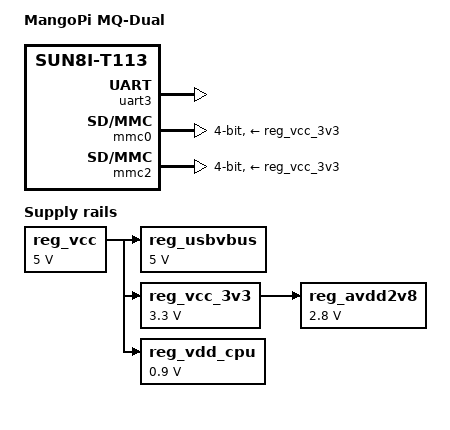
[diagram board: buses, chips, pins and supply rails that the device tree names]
// SPDX-License-Identifier: (GPL-2.0+ or MIT)
// Copyright (C) 2022 Samuel Holland <samuel@sholland.org>

/dts-v1/;

#include <dt-bindings/gpio/gpio.h>
#include <dt-bindings/leds/common.h>
#include "sun8i-t113.dtsi"

/ {
	model = "MangoPi MQ-Dual";
	compatible = "allwinner,sun8i-t113", "allwinner,sun8i";

	aliases {
		serial0 = &uart3;
	};

	chosen {
		stdout-path = "serial0:115200n8";
	};

	reg_vcc: vcc {
		compatible = "regulator-fixed";
		regulator-name = "vcc";
		regulator-min-microvolt = <5000000>;
		regulator-max-microvolt = <5000000>;
	};

	reg_usbvbus: usbvbus {
		compatible = "regulator-fixed";
		regulator-name = "usbvbus";
		regulator-min-microvolt = <5000000>;
		regulator-max-microvolt = <5000000>;
		vin-supply = <&reg_vcc>;
	};

	reg_vcc_3v3: vcc-3v3 {
		compatible = "regulator-fixed";
		regulator-name = "vcc-3v3";
		regulator-min-microvolt = <3300000>;
		regulator-max-microvolt = <3300000>;
		vin-supply = <&reg_vcc>;
	};

	reg_avdd2v8: avdd2v8 {
		compatible = "regulator-fixed";
		regulator-name = "avdd2v8";
		regulator-min-microvolt = <2800000>;
		regulator-max-microvolt = <2800000>;
		vin-supply = <&reg_vcc_3v3>;
	};

	reg_vdd_cpu: vdd-cpu {
		compatible = "regulator-fixed";
		regulator-name = "vdd-cpu";
		regulator-min-microvolt = <900000>;
		regulator-max-microvolt = <900000>;
		vin-supply = <&reg_vcc>;
	};
};

&cpu0 {
	cpu-supply = <&reg_vdd_cpu>;
};

&cpu1 {
	cpu-supply = <&reg_vdd_cpu>;
};

&pio {
	vcc-pb-supply = <&reg_vcc_3v3>;
	vcc-pc-supply = <&reg_vcc_3v3>;
	vcc-pd-supply = <&reg_vcc_3v3>;
	vcc-pe-supply = <&reg_vcc_3v3>;
	vcc-pf-supply = <&reg_vcc_3v3>;
	vcc-pg-supply = <&reg_vcc_3v3>;
};

&uart3 {
	pinctrl-0 = <&uart3_pb_pins>;
	pinctrl-names = "default";
	status = "okay";
};

&spi0 {
	pinctrl-0 = <&spi0_pins>;
	pinctrl-names = "default";
	status = "disabled";

	flash@0 {
		compatible = "spi-nand";
		reg = <0>;
	};
};

// TF Card
&mmc0 {
	bus-width = <4>;
	disable-wp;
	vmmc-supply = <&reg_vcc_3v3>;
	vqmmc-supply = <&reg_vcc_3v3>;
	pinctrl-0 = <&mmc0_pins>;
	pinctrl-names = "default";
	status = "okay";
};

// on board EMMC
&mmc2 {
	bus-width = <4>;
	disable-wp;
	vmmc-supply = <&reg_vcc_3v3>;
	vqmmc-supply = <&reg_vcc_3v3>;
	pinctrl-0 = <&mmc2_pins>;
	pinctrl-names = "default";
	status = "okay";
};
